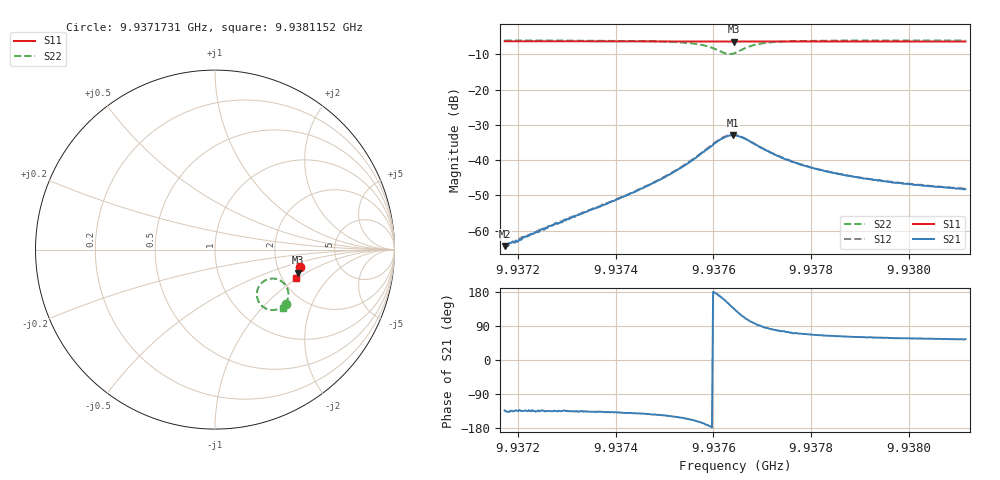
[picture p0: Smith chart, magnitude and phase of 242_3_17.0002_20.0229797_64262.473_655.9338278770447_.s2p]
#  HZ  S  RI  R  50.00
! Rohde & Schwarz Vector Network Analyzer
! Rohde-Schwarz,ZNB20-2Port,1311601062101988,3.16
! Created: UTC 3/20/2024, 11:02:56 PM
! freq[Hz]  re:S11  im:S11  re:S21  im:S21  re:S12  im:S12  re:S22  im:S22
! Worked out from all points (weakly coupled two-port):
!   401 points, 9.9371731 GHz to 9.9381152 GHz, reference 50 ohm
!   highest |S21| = -32.97 dB at 9.9376394 GHz (marker M1); lowest = -64.4 dB at 9.9371731 GHz (marker M2)
!   lowest |S11| = -6.4 dB at 9.9376418 GHz (marker M3), VSWR 2.84, Z = 126 - j41.8 ohm
!   |S11| at or under -10 dB: nowhere
!   |S22| runs from -9.9 to -6.1 dB; largest |S21 - S12| = 0.00098
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9.93717307e9  0.4739 -0.0986  -0.000408 -0.000439  -0.000421 -0.000427  0.3954 -0.3019
9.93719662e9  0.4733 -0.1002  -0.00049 -0.000532  -0.000498 -0.000504  0.3938 -0.3037
9.93720604e9  0.4733 -0.1007  -0.000514 -0.000524  -0.000541 -0.000526  0.3929 -0.3044
9.93724373e9  0.4725 -0.1034  -0.000692 -0.000677  -0.000728 -0.000722  0.39 -0.3075
9.93733087e9  0.4708 -0.1092  -0.00121 -0.00124  -0.00128 -0.00121  0.3808 -0.3152
9.93742744e9  0.4687 -0.1159  -0.00246 -0.00212  -0.00255 -0.00211  0.3652 -0.3254
9.93748868e9  0.4674 -0.1199  -0.00423 -0.00299  -0.00437 -0.00294  0.3473 -0.333
9.93753814e9  0.4658 -0.1234  -0.00725 -0.00369  -0.00745 -0.00361  0.3201 -0.337
9.93758289e9  0.4642 -0.1264  -0.0133 -0.00252  -0.0136 -0.00231  0.2711 -0.3213
9.93760174e9  0.4632 -0.1272  -0.0171 0.000539  -0.0175 0.000867  0.2446 -0.292
9.93761822e9  0.4627 -0.1277  -0.0193 0.00584  -0.0197 0.00657  0.2334 -0.2453
9.93763e9  0.462 -0.1278  -0.019 0.011  -0.0191 0.0119  0.2451 -0.2054
9.93763942e9  0.4622 -0.1282  -0.0167 0.015  -0.0165 0.0157  0.2686 -0.1788
9.93764178e9  0.462 -0.128  -0.0158 0.0156  -0.0158 0.0165  0.276 -0.1739
9.93764413e9  0.4621 -0.1282  -0.0151 0.0165  -0.0148 0.0172  0.2837 -0.1696
9.93767004e9  0.4629 -0.1294  -0.00539 0.0184  -0.00478 0.0187  0.3624 -0.1715
9.9376983e9  0.4628 -0.1314  0.00025 0.0148  0.00062 0.0149  0.3994 -0.2091
9.93774777e9  0.4621 -0.1352  0.00284 0.00978  0.00294 0.00981  0.4093 -0.2542
9.93780194e9  0.4609 -0.139  0.00304 0.00712  0.00321 0.0071  0.4047 -0.2788
9.9378726e9  0.4593 -0.1437  0.00287 0.00531  0.00296 0.0053  0.3971 -0.296
9.93795974e9  0.4571 -0.1496  0.00256 0.00416  0.0027 0.00415  0.3891 -0.3089
9.9381152e9  0.453 -0.1596  0.00222 0.00316  0.00233 0.00316  0.3777 -0.3237
